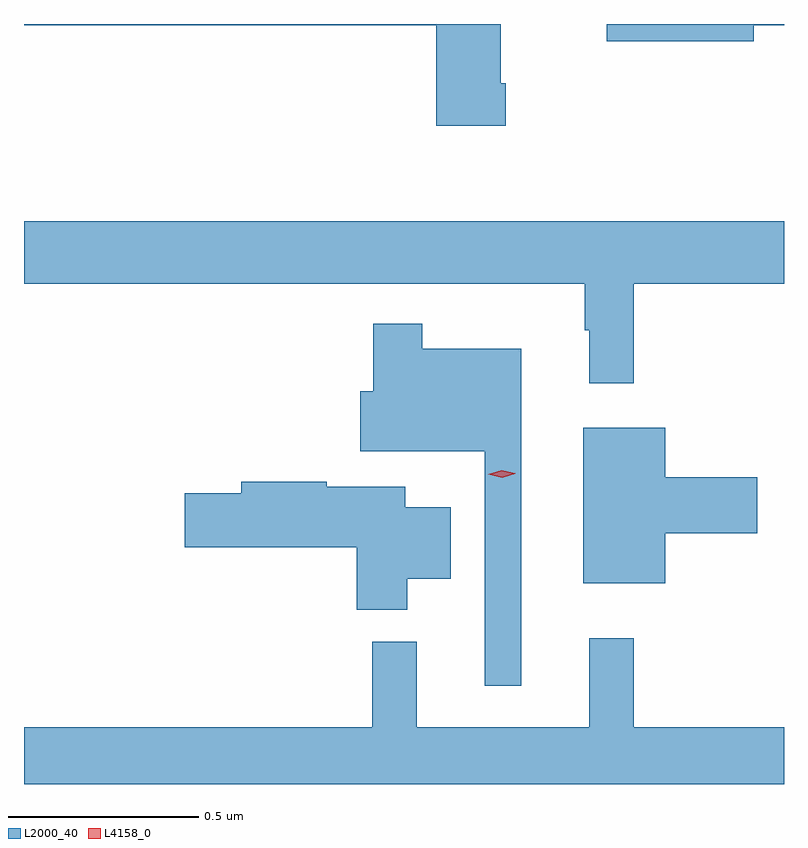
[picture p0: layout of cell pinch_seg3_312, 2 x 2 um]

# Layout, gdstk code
import gdstk
lib = gdstk.Library(unit=1e-6, precision=1e-09)
def P(c, l, *ps):  # polygons
    for p in ps: c.add(gdstk.Polygon(p, *l))
L2000_40 = (2000, 40)
L4158_0 = (4158, 0)

pinch_seg3_312 = lib.new_cell('pinch_seg3_312')
P(pinch_seg3_312, L2000_40, [(973.817,709.435),(973.804,709.435),(973.804,709.591),(972.549,709.591),(972.549,709.588),(973.634,709.588),(973.634,709.323),(973.817,709.323)],
  [(974.47,709.588),(974.549,709.588),(974.549,709.591),(974.082,709.591),(974.082,709.546),(974.47,709.546)],
  [(974.153,708.908),(974.549,708.908),(974.549,709.072),(972.549,709.072),(972.549,708.908),(974.025,708.908),(974.025,708.785),(974.036,708.785),(974.036,708.645),(974.153,708.645)],
  [(973.858,708.736),(973.597,708.736),(973.597,708.802),(973.468,708.802),(973.468,708.625),(973.434,708.625),(973.434,708.467),(973.761,708.467),(973.761,707.85),(973.858,707.85)],
  [(974.236,708.251),(974.479,708.251),(974.479,708.398),(974.236,708.398),(974.236,708.529),(974.021,708.529),(974.021,708.119),(974.236,708.119)],
  [(973.558,708.131),(973.672,708.131),(973.672,708.319),(973.552,708.319),(973.552,708.373),(973.346,708.373),(973.346,708.386),(973.121,708.386),(973.121,708.356),(972.972,708.356),(972.972,708.214),(973.424,708.214),(973.424,708.05),(973.558,708.05)],
  [(974.549,707.74),(974.153,707.74),(974.153,707.974),(974.036,707.974),(974.036,707.74),(973.583,707.74),(973.583,707.965),(973.465,707.965),(973.465,707.74),(972.549,707.74),(972.549,707.591),(974.549,707.591)])
P(pinch_seg3_312, L4158_0, [(973.807,708.397),(973.771,708.406),(973.771,708.406),(973.771,708.406),(973.806,708.417),(973.842,708.409),(973.842,708.409),(973.842,708.408)])

lib.write_gds('pinch_seg3_312.gds')
